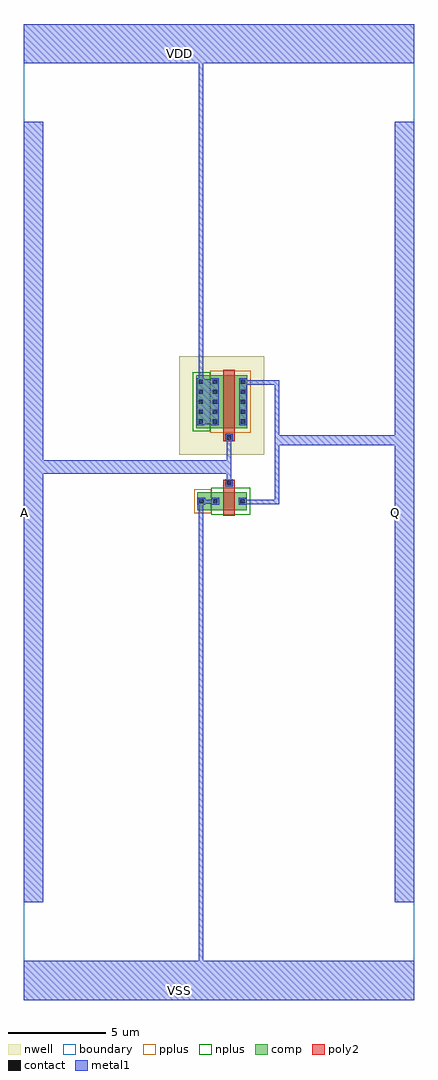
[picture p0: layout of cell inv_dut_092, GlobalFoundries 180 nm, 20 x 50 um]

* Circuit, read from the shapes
.subckt inv_dut_092 A Q VDD VSS
XM1 Q A VSS VSS nfet_03v3 w=0.9u l=0.6u
XM2 Q A VDD VDD pfet_03v3 w=2.7u l=0.6u
.ends

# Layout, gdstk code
from math import pi, radians
import gdstk
lib = gdstk.Library(unit=1e-6, precision=1e-09)
def R(c, l, rs):  # rectangles x0, y0, x1, y1
    for r in rs: c.add(gdstk.rectangle(r[:2], r[2:], *l))
def A(c, l, x, y, w, h, nx, ny, dx, dy):  # array of equal rectangles
    R(c, l, [(x+i*dx, y+j*dy, x+i*dx+w, y+j*dy+h) for i in range(nx) for j in range(ny)])
boundary = (0, 0)
nwell = (21, 0)
comp = (22, 0)
poly2 = (30, 0)
pplus = (31, 0)
nplus = (32, 0)
contact = (33, 0)
metal1 = (34, 0)

pfet = lib.new_cell('pfet')
R(pfet, nwell, [(-1.32,-0.99,3.03,4.07)])
R(pfet, comp, [(-0.46,0,2.17,2.7)])
R(pfet, poly2, [(0.19,-0.3,0.79,3.38)])
R(pfet, pplus, [(-0.63,-0.24,1.44,2.94)])
R(pfet, nplus, [(1.44,-0.17,2.34,2.87)])
A(pfet, contact, -0.34, 0.22, 0.22, 0.22, 1, 5, 0, 0.51)
A(pfet, contact, 1.1, 0.22, 0.22, 0.22, 1, 5, 0, 0.51)
A(pfet, contact, 1.83, 0.22, 0.22, 0.22, 1, 5, 0, 0.51)
R(pfet, contact, [(0.38,3.08,0.6,3.3)])
R(pfet, metal1, [(-0.42,0.14,-0.04,2.56), (1.02,0.14,1.4,2.56), (1.75,0.14,2.13,2.56), (0.3,3,0.68,3.38)])

nfet = lib.new_cell('nfet')
R(nfet, comp, [(-0.42,0,2.11,0.9)])
R(nfet, poly2, [(0.19,-0.66,0.79,1.2)])
R(nfet, pplus, [(1.4,-0.17,2.28,1.07)])
R(nfet, nplus, [(-0.59,-0.24,1.4,1.14)])
R(nfet, contact, [(0.38,-0.59,0.6,-0.37), (-0.32,0.34,-0.1,0.56), (1.08,0.34,1.3,0.56), (1.79,0.34,2.01,0.56)])
R(nfet, metal1, [(0.3,-0.67,0.68,-0.29), (-0.4,0.26,-0.02,0.64), (1,0.26,1.38,0.64), (1.71,0.26,2.09,0.64)])

inv_dut_092 = lib.new_cell('inv_dut_092')
R(inv_dut_092, boundary, [(-10,-25,10,25)])
R(inv_dut_092, metal1, [(-10,-25,10,-23), (-10,-20,-9,20), (9,-20,10,20), (-9.21,1.95,0.485,2.64), (2.89,3.41,9.415,3.93), (-1.075,4.5,-0.075,6.8), (1.085,4.5,1.385,6.8), (-10,23,10,25)])
inv_dut_092.add(gdstk.FlexPath([(-0.93,6.66),(-0.93,23.52)], 0.23, ends="flush", simple_path=True, layer=34, datatype=0))  # metal1
inv_dut_092.add(gdstk.FlexPath([(0.505,3.795),(0.505,1.455)], 0.23, ends="flush", simple_path=True, layer=34, datatype=0))  # metal1
inv_dut_092.add(gdstk.FlexPath([(1.225,6.625),(2.98,6.625),(2.98,0.52),(1.235,0.52)], 0.23, ends="flush", simple_path=True, layer=34, datatype=0))  # metal1
inv_dut_092.add(gdstk.FlexPath([(-0.915,0.52),(-0.915,-23.245)], 0.23, ends="flush", simple_path=True, layer=34, datatype=0))  # metal1
inv_dut_092.add(gdstk.FlexPath([(-0.895,0.525),(-0.22,0.525)], 0.23, ends="flush", simple_path=True, layer=34, datatype=0))  # metal1
inv_dut_092.add(gdstk.Reference(pfet, (1,7), rotation=pi))
inv_dut_092.add(gdstk.Reference(nfet, (1,1), rotation=pi))
inv_dut_092.add(gdstk.Label('VDD', (-2,23.5), layer=34, texttype=10))
inv_dut_092.add(gdstk.Label('VSS', (-2,-24.5), layer=34, texttype=10))
inv_dut_092.add(gdstk.Label('A', (-9.97,0), layer=34, texttype=10))
inv_dut_092.add(gdstk.Label('Q', (9.03,0), layer=34, texttype=10))

lib.write_gds('inv_dut_092.gds')
